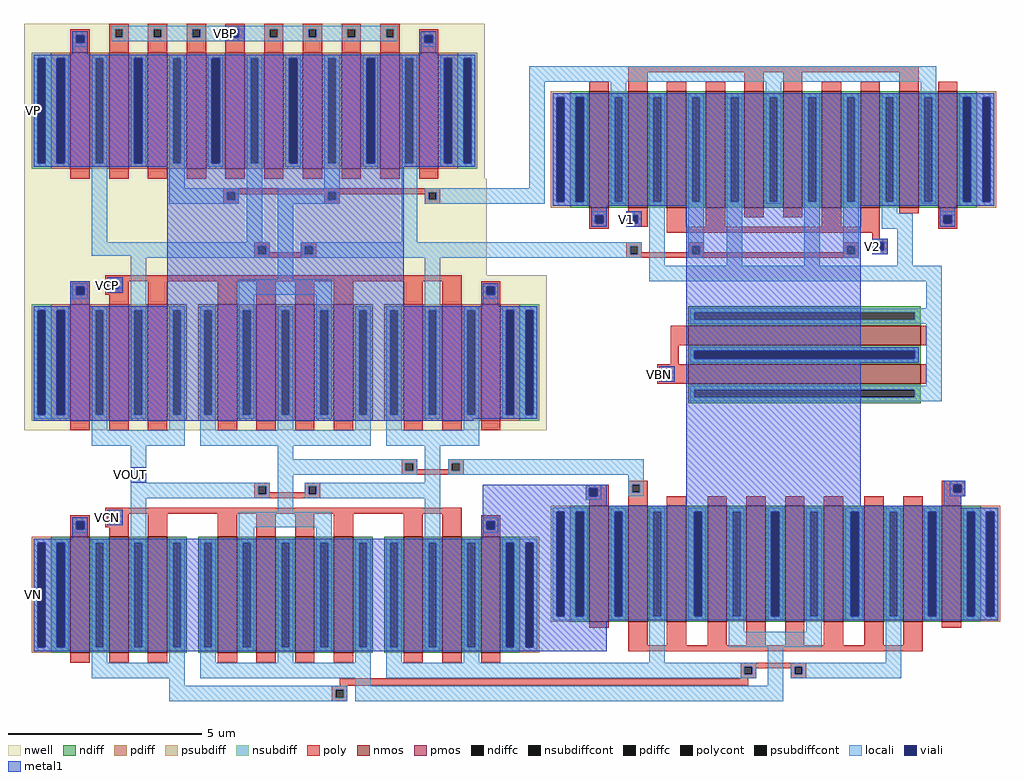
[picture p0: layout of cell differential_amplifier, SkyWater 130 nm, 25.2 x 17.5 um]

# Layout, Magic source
magic
tech sky130A
<< nwell >>
rect -110 -230 1080 170
rect -110 -480 1085 -230
rect -110 -880 1240 -480
<< nmos >>
rect 1350 -305 1400 -5
rect 1450 -305 1500 -5
rect 1550 -305 1600 -5
rect 1650 -305 1700 -5
rect 1750 -305 1800 -5
rect 1850 -305 1900 -5
rect 1950 -305 2000 -5
rect 2050 -305 2100 -5
rect 2150 -305 2200 -5
rect 2250 -305 2300 -5
rect 1605 -660 2205 -610
rect 1605 -760 2205 -710
rect 10 -1455 60 -1155
rect 110 -1455 160 -1155
rect 210 -1455 260 -1155
rect 390 -1455 440 -1155
rect 490 -1455 540 -1155
rect 590 -1455 640 -1155
rect 690 -1455 740 -1155
rect 870 -1455 920 -1155
rect 970 -1455 1020 -1155
rect 1070 -1455 1120 -1155
rect 1350 -1375 1400 -1075
rect 1450 -1375 1500 -1075
rect 1550 -1375 1600 -1075
rect 1655 -1375 1705 -1075
rect 1755 -1375 1805 -1075
rect 1855 -1375 1905 -1075
rect 1955 -1375 2005 -1075
rect 2060 -1375 2110 -1075
rect 2160 -1375 2210 -1075
rect 2260 -1375 2310 -1075
<< pmos >>
rect 10 -205 60 95
rect 110 -205 160 95
rect 210 -205 260 95
rect 310 -205 360 95
rect 410 -205 460 95
rect 510 -205 560 95
rect 610 -205 660 95
rect 710 -205 760 95
rect 810 -205 860 95
rect 910 -205 960 95
rect 10 -855 60 -555
rect 110 -855 160 -555
rect 210 -855 260 -555
rect 390 -855 440 -555
rect 490 -855 540 -555
rect 590 -855 640 -555
rect 690 -855 740 -555
rect 870 -855 920 -555
rect 970 -855 1020 -555
rect 1070 -855 1120 -555
<< ndiff >>
rect 1300 -20 1350 -5
rect 1300 -290 1315 -20
rect 1335 -290 1350 -20
rect 1300 -305 1350 -290
rect 1400 -20 1450 -5
rect 1400 -290 1415 -20
rect 1435 -290 1450 -20
rect 1400 -305 1450 -290
rect 1500 -20 1550 -5
rect 1500 -290 1515 -20
rect 1535 -290 1550 -20
rect 1500 -305 1550 -290
rect 1600 -20 1650 -5
rect 1600 -290 1615 -20
rect 1635 -290 1650 -20
rect 1600 -305 1650 -290
rect 1700 -20 1750 -5
rect 1700 -290 1715 -20
rect 1735 -290 1750 -20
rect 1700 -305 1750 -290
rect 1800 -20 1850 -5
rect 1800 -290 1815 -20
rect 1835 -290 1850 -20
rect 1800 -305 1850 -290
rect 1900 -20 1950 -5
rect 1900 -290 1915 -20
rect 1935 -290 1950 -20
rect 1900 -305 1950 -290
rect 2000 -20 2050 -5
rect 2000 -290 2015 -20
rect 2035 -290 2050 -20
rect 2000 -305 2050 -290
rect 2100 -20 2150 -5
rect 2100 -290 2115 -20
rect 2135 -290 2150 -20
rect 2100 -305 2150 -290
rect 2200 -20 2250 -5
rect 2200 -290 2215 -20
rect 2235 -290 2250 -20
rect 2200 -305 2250 -290
rect 2300 -20 2350 -5
rect 2300 -290 2315 -20
rect 2335 -290 2350 -20
rect 2300 -305 2350 -290
rect 1605 -575 2205 -560
rect 1605 -595 1620 -575
rect 2190 -595 2205 -575
rect 1605 -610 2205 -595
rect 1605 -675 2205 -660
rect 1605 -695 1620 -675
rect 2190 -695 2205 -675
rect 1605 -710 2205 -695
rect 1605 -775 2205 -760
rect 1605 -795 1620 -775
rect 2190 -795 2205 -775
rect 1605 -810 2205 -795
rect 1300 -1090 1350 -1075
rect -40 -1170 10 -1155
rect -40 -1440 -25 -1170
rect -5 -1440 10 -1170
rect -40 -1455 10 -1440
rect 60 -1170 110 -1155
rect 60 -1440 75 -1170
rect 95 -1440 110 -1170
rect 60 -1455 110 -1440
rect 160 -1170 210 -1155
rect 160 -1440 175 -1170
rect 195 -1440 210 -1170
rect 160 -1455 210 -1440
rect 260 -1170 310 -1155
rect 260 -1440 275 -1170
rect 295 -1440 310 -1170
rect 260 -1455 310 -1440
rect 340 -1170 390 -1155
rect 340 -1440 355 -1170
rect 375 -1440 390 -1170
rect 340 -1455 390 -1440
rect 440 -1170 490 -1155
rect 440 -1440 455 -1170
rect 475 -1440 490 -1170
rect 440 -1455 490 -1440
rect 540 -1170 590 -1155
rect 540 -1440 555 -1170
rect 575 -1440 590 -1170
rect 540 -1455 590 -1440
rect 640 -1170 690 -1155
rect 640 -1440 655 -1170
rect 675 -1440 690 -1170
rect 640 -1455 690 -1440
rect 740 -1170 790 -1155
rect 740 -1440 755 -1170
rect 775 -1440 790 -1170
rect 740 -1455 790 -1440
rect 820 -1170 870 -1155
rect 820 -1440 835 -1170
rect 855 -1440 870 -1170
rect 820 -1455 870 -1440
rect 920 -1170 970 -1155
rect 920 -1440 935 -1170
rect 955 -1440 970 -1170
rect 920 -1455 970 -1440
rect 1020 -1170 1070 -1155
rect 1020 -1440 1035 -1170
rect 1055 -1440 1070 -1170
rect 1020 -1455 1070 -1440
rect 1120 -1170 1170 -1155
rect 1120 -1440 1135 -1170
rect 1155 -1440 1170 -1170
rect 1300 -1360 1315 -1090
rect 1335 -1360 1350 -1090
rect 1300 -1375 1350 -1360
rect 1400 -1090 1450 -1075
rect 1400 -1360 1415 -1090
rect 1435 -1360 1450 -1090
rect 1400 -1375 1450 -1360
rect 1500 -1090 1550 -1075
rect 1500 -1360 1515 -1090
rect 1535 -1360 1550 -1090
rect 1500 -1375 1550 -1360
rect 1600 -1090 1655 -1075
rect 1600 -1360 1620 -1090
rect 1640 -1360 1655 -1090
rect 1600 -1375 1655 -1360
rect 1705 -1090 1755 -1075
rect 1705 -1360 1720 -1090
rect 1740 -1360 1755 -1090
rect 1705 -1375 1755 -1360
rect 1805 -1090 1855 -1075
rect 1805 -1360 1820 -1090
rect 1840 -1360 1855 -1090
rect 1805 -1375 1855 -1360
rect 1905 -1090 1955 -1075
rect 1905 -1360 1920 -1090
rect 1940 -1360 1955 -1090
rect 1905 -1375 1955 -1360
rect 2005 -1090 2060 -1075
rect 2005 -1360 2025 -1090
rect 2045 -1360 2060 -1090
rect 2005 -1375 2060 -1360
rect 2110 -1090 2160 -1075
rect 2110 -1360 2125 -1090
rect 2145 -1360 2160 -1090
rect 2110 -1375 2160 -1360
rect 2210 -1090 2260 -1075
rect 2210 -1360 2225 -1090
rect 2245 -1360 2260 -1090
rect 2210 -1375 2260 -1360
rect 2310 -1090 2360 -1075
rect 2310 -1360 2325 -1090
rect 2345 -1360 2360 -1090
rect 2310 -1375 2360 -1360
rect 1120 -1455 1170 -1440
<< pdiff >>
rect -40 80 10 95
rect -40 -190 -25 80
rect -5 -190 10 80
rect -40 -205 10 -190
rect 60 80 110 95
rect 60 -190 75 80
rect 95 -190 110 80
rect 60 -205 110 -190
rect 160 80 210 95
rect 160 -190 175 80
rect 195 -190 210 80
rect 160 -205 210 -190
rect 260 80 310 95
rect 260 -190 275 80
rect 295 -190 310 80
rect 260 -205 310 -190
rect 360 80 410 95
rect 360 -190 375 80
rect 395 -190 410 80
rect 360 -205 410 -190
rect 460 80 510 95
rect 460 -190 475 80
rect 495 -190 510 80
rect 460 -205 510 -190
rect 560 80 610 95
rect 560 -190 575 80
rect 595 -190 610 80
rect 560 -205 610 -190
rect 660 80 710 95
rect 660 -190 675 80
rect 695 -190 710 80
rect 660 -205 710 -190
rect 760 80 810 95
rect 760 -190 775 80
rect 795 -190 810 80
rect 760 -205 810 -190
rect 860 80 910 95
rect 860 -190 875 80
rect 895 -190 910 80
rect 860 -205 910 -190
rect 960 80 1010 95
rect 960 -190 975 80
rect 995 -190 1010 80
rect 960 -205 1010 -190
rect -40 -570 10 -555
rect -40 -840 -25 -570
rect -5 -840 10 -570
rect -40 -855 10 -840
rect 60 -570 110 -555
rect 60 -840 75 -570
rect 95 -840 110 -570
rect 60 -855 110 -840
rect 160 -570 210 -555
rect 160 -840 175 -570
rect 195 -840 210 -570
rect 160 -855 210 -840
rect 260 -570 310 -555
rect 260 -840 275 -570
rect 295 -840 310 -570
rect 260 -855 310 -840
rect 340 -570 390 -555
rect 340 -840 355 -570
rect 375 -840 390 -570
rect 340 -855 390 -840
rect 440 -570 490 -555
rect 440 -840 455 -570
rect 475 -840 490 -570
rect 440 -855 490 -840
rect 540 -570 590 -555
rect 540 -840 555 -570
rect 575 -840 590 -570
rect 540 -855 590 -840
rect 640 -570 690 -555
rect 640 -840 655 -570
rect 675 -840 690 -570
rect 640 -855 690 -840
rect 740 -570 790 -555
rect 740 -840 755 -570
rect 775 -840 790 -570
rect 740 -855 790 -840
rect 820 -570 870 -555
rect 820 -840 835 -570
rect 855 -840 870 -570
rect 820 -855 870 -840
rect 920 -570 970 -555
rect 920 -840 935 -570
rect 955 -840 970 -570
rect 920 -855 970 -840
rect 1020 -570 1070 -555
rect 1020 -840 1035 -570
rect 1055 -840 1070 -570
rect 1020 -855 1070 -840
rect 1120 -570 1170 -555
rect 1120 -840 1135 -570
rect 1155 -840 1170 -570
rect 1120 -855 1170 -840
<< ndiffc >>
rect 1315 -290 1335 -20
rect 1415 -290 1435 -20
rect 1515 -290 1535 -20
rect 1615 -290 1635 -20
rect 1715 -290 1735 -20
rect 1815 -290 1835 -20
rect 1915 -290 1935 -20
rect 2015 -290 2035 -20
rect 2115 -290 2135 -20
rect 2215 -290 2235 -20
rect 2315 -290 2335 -20
rect 1620 -595 2190 -575
rect 1620 -695 2190 -675
rect 1620 -795 2190 -775
rect -25 -1440 -5 -1170
rect 75 -1440 95 -1170
rect 175 -1440 195 -1170
rect 275 -1440 295 -1170
rect 355 -1440 375 -1170
rect 455 -1440 475 -1170
rect 555 -1440 575 -1170
rect 655 -1440 675 -1170
rect 755 -1440 775 -1170
rect 835 -1440 855 -1170
rect 935 -1440 955 -1170
rect 1035 -1440 1055 -1170
rect 1135 -1440 1155 -1170
rect 1315 -1360 1335 -1090
rect 1415 -1360 1435 -1090
rect 1515 -1360 1535 -1090
rect 1620 -1360 1640 -1090
rect 1720 -1360 1740 -1090
rect 1820 -1360 1840 -1090
rect 1920 -1360 1940 -1090
rect 2025 -1360 2045 -1090
rect 2125 -1360 2145 -1090
rect 2225 -1360 2245 -1090
rect 2325 -1360 2345 -1090
<< pdiffc >>
rect -25 -190 -5 80
rect 75 -190 95 80
rect 175 -190 195 80
rect 275 -190 295 80
rect 375 -190 395 80
rect 475 -190 495 80
rect 575 -190 595 80
rect 675 -190 695 80
rect 775 -190 795 80
rect 875 -190 895 80
rect 975 -190 995 80
rect -25 -840 -5 -570
rect 75 -840 95 -570
rect 175 -840 195 -570
rect 275 -840 295 -570
rect 355 -840 375 -570
rect 455 -840 475 -570
rect 555 -840 575 -570
rect 655 -840 675 -570
rect 755 -840 775 -570
rect 835 -840 855 -570
rect 935 -840 955 -570
rect 1035 -840 1055 -570
rect 1135 -840 1155 -570
<< psubdiff >>
rect 1250 -20 1300 -5
rect 1250 -290 1265 -20
rect 1285 -290 1300 -20
rect 1250 -305 1300 -290
rect 2350 -20 2400 -5
rect 2350 -290 2365 -20
rect 2385 -290 2400 -20
rect 2350 -305 2400 -290
rect 1250 -1090 1300 -1075
rect -90 -1170 -40 -1155
rect -90 -1440 -75 -1170
rect -55 -1440 -40 -1170
rect -90 -1455 -40 -1440
rect 1170 -1170 1220 -1155
rect 1170 -1440 1185 -1170
rect 1205 -1440 1220 -1170
rect 1250 -1360 1265 -1090
rect 1285 -1360 1300 -1090
rect 1250 -1375 1300 -1360
rect 2360 -1090 2410 -1075
rect 2360 -1360 2375 -1090
rect 2395 -1360 2410 -1090
rect 2360 -1375 2410 -1360
rect 1170 -1455 1220 -1440
<< nsubdiff >>
rect -90 80 -40 95
rect -90 -190 -75 80
rect -55 -190 -40 80
rect -90 -205 -40 -190
rect 1010 80 1060 95
rect 1010 -190 1025 80
rect 1045 -190 1060 80
rect 1010 -205 1060 -190
rect -90 -570 -40 -555
rect -90 -840 -75 -570
rect -55 -840 -40 -570
rect -90 -855 -40 -840
rect 1170 -570 1220 -555
rect 1170 -840 1185 -570
rect 1205 -840 1220 -570
rect 1170 -855 1220 -840
<< psubdiffcont >>
rect 1265 -290 1285 -20
rect 2365 -290 2385 -20
rect -75 -1440 -55 -1170
rect 1185 -1440 1205 -1170
rect 1265 -1360 1285 -1090
rect 2375 -1360 2395 -1090
<< nsubdiffcont >>
rect -75 -190 -55 80
rect 1025 -190 1045 80
rect -75 -840 -55 -570
rect 1185 -840 1205 -570
<< poly >>
rect 110 155 160 170
rect 10 140 60 155
rect 10 120 25 140
rect 45 120 60 140
rect 10 95 60 120
rect 110 135 125 155
rect 145 135 160 155
rect 110 95 160 135
rect 210 155 260 170
rect 210 135 225 155
rect 245 135 260 155
rect 210 95 260 135
rect 310 155 360 170
rect 310 135 325 155
rect 345 135 360 155
rect 310 95 360 135
rect 410 155 460 170
rect 410 135 425 155
rect 445 135 460 155
rect 410 95 460 135
rect 510 155 560 170
rect 510 135 525 155
rect 545 135 560 155
rect 510 95 560 135
rect 610 155 660 170
rect 610 135 625 155
rect 645 135 660 155
rect 610 95 660 135
rect 710 155 760 170
rect 710 135 725 155
rect 745 135 760 155
rect 710 95 760 135
rect 810 155 860 170
rect 810 135 825 155
rect 845 135 860 155
rect 810 95 860 135
rect 910 140 960 155
rect 910 120 925 140
rect 945 120 960 140
rect 910 95 960 120
rect 1450 45 2200 60
rect 1350 -5 1400 20
rect 1450 -5 1500 45
rect 1550 -5 1600 20
rect 1650 -5 1700 20
rect 1750 -5 1800 45
rect 1850 -5 1900 45
rect 1950 -5 2000 20
rect 2050 -5 2100 20
rect 2150 -5 2200 45
rect 2250 -5 2300 20
rect 10 -230 60 -205
rect 110 -230 160 -205
rect 210 -230 260 -205
rect 310 -230 360 -205
rect 410 -230 460 -205
rect 510 -230 560 -205
rect 610 -230 660 -205
rect 710 -230 760 -205
rect 810 -230 860 -205
rect 910 -230 960 -205
rect 405 -265 965 -255
rect 405 -285 415 -265
rect 435 -270 675 -265
rect 435 -285 445 -270
rect 405 -295 445 -285
rect 665 -285 675 -270
rect 695 -270 935 -265
rect 695 -285 705 -270
rect 665 -295 705 -285
rect 925 -285 935 -270
rect 955 -285 965 -265
rect 925 -295 965 -285
rect 1350 -325 1400 -305
rect 1450 -315 1500 -305
rect 1350 -345 1365 -325
rect 1385 -345 1400 -325
rect 1350 -360 1400 -345
rect 1445 -325 1500 -315
rect 1445 -345 1455 -325
rect 1475 -345 1500 -325
rect 1445 -355 1500 -345
rect 1550 -355 1600 -305
rect 1650 -355 1700 -305
rect 1750 -330 1800 -305
rect 1850 -330 1900 -305
rect 1950 -355 2000 -305
rect 2050 -355 2100 -305
rect 2150 -320 2200 -305
rect 1550 -370 2100 -355
rect 2250 -325 2300 -305
rect 2250 -345 2265 -325
rect 2285 -345 2300 -325
rect 2250 -360 2300 -345
rect 2080 -385 2100 -370
rect 2080 -395 2120 -385
rect 485 -405 525 -395
rect 485 -425 495 -405
rect 515 -420 525 -405
rect 605 -405 645 -395
rect 605 -420 615 -405
rect 515 -425 615 -420
rect 635 -425 645 -405
rect 485 -435 645 -425
rect 1445 -405 1485 -395
rect 1445 -425 1455 -405
rect 1475 -420 1485 -405
rect 1605 -405 1645 -395
rect 1605 -420 1615 -405
rect 1475 -425 1615 -420
rect 1635 -420 1645 -405
rect 2005 -405 2045 -395
rect 2005 -420 2015 -405
rect 1635 -425 2015 -420
rect 2035 -425 2045 -405
rect 2080 -415 2090 -395
rect 2110 -415 2120 -395
rect 2080 -425 2120 -415
rect 1445 -435 2045 -425
rect 100 -495 1020 -480
rect 10 -510 60 -495
rect 10 -530 25 -510
rect 45 -530 60 -510
rect 100 -515 115 -495
rect 135 -515 160 -495
rect 100 -530 160 -515
rect 10 -555 60 -530
rect 110 -555 160 -530
rect 210 -555 260 -495
rect 390 -555 440 -495
rect 490 -555 540 -495
rect 590 -555 640 -495
rect 690 -555 740 -495
rect 870 -555 920 -495
rect 970 -555 1020 -495
rect 1070 -510 1120 -495
rect 1070 -530 1085 -510
rect 1105 -530 1120 -510
rect 1070 -555 1120 -530
rect 1560 -660 1605 -610
rect 2205 -660 2220 -610
rect 1560 -710 1580 -660
rect 1525 -725 1605 -710
rect 1525 -745 1540 -725
rect 1560 -745 1605 -725
rect 1525 -760 1605 -745
rect 2205 -760 2220 -710
rect 10 -880 60 -855
rect 110 -880 160 -855
rect 210 -880 260 -855
rect 390 -880 440 -855
rect 490 -880 540 -855
rect 590 -880 640 -855
rect 690 -880 740 -855
rect 870 -880 920 -855
rect 970 -880 1020 -855
rect 1070 -880 1120 -855
rect 865 -965 905 -955
rect 865 -985 875 -965
rect 895 -980 905 -965
rect 985 -965 1025 -955
rect 985 -980 995 -965
rect 895 -985 995 -980
rect 1015 -985 1025 -965
rect 865 -995 1025 -985
rect 485 -1025 525 -1015
rect 485 -1045 495 -1025
rect 515 -1040 525 -1025
rect 615 -1025 655 -1015
rect 1450 -1020 1500 -1010
rect 615 -1040 625 -1025
rect 515 -1045 625 -1040
rect 645 -1045 655 -1025
rect 485 -1055 655 -1045
rect 1340 -1030 1400 -1020
rect 1340 -1050 1350 -1030
rect 1370 -1050 1400 -1030
rect 1340 -1060 1400 -1050
rect 1350 -1075 1400 -1060
rect 1450 -1040 1460 -1020
rect 1480 -1040 1500 -1020
rect 1450 -1075 1500 -1040
rect 2260 -1020 2320 -1010
rect 2260 -1040 2290 -1020
rect 2310 -1040 2320 -1020
rect 2260 -1050 2320 -1040
rect 1550 -1075 1600 -1050
rect 1655 -1075 1705 -1050
rect 1755 -1075 1805 -1050
rect 1855 -1075 1905 -1050
rect 1955 -1075 2005 -1050
rect 2060 -1075 2110 -1050
rect 2160 -1075 2210 -1050
rect 2260 -1075 2310 -1050
rect 100 -1095 1020 -1080
rect 10 -1115 60 -1100
rect 10 -1135 25 -1115
rect 45 -1135 60 -1115
rect 100 -1115 115 -1095
rect 135 -1115 160 -1095
rect 100 -1130 160 -1115
rect 10 -1155 60 -1135
rect 110 -1155 160 -1130
rect 210 -1155 260 -1095
rect 390 -1155 440 -1095
rect 490 -1155 540 -1095
rect 590 -1155 640 -1095
rect 690 -1155 740 -1095
rect 870 -1155 920 -1095
rect 970 -1155 1020 -1095
rect 1070 -1115 1120 -1100
rect 1070 -1135 1085 -1115
rect 1105 -1135 1120 -1115
rect 1070 -1155 1120 -1135
rect 1350 -1390 1400 -1375
rect 1450 -1435 1500 -1375
rect 1550 -1435 1600 -1375
rect 1655 -1435 1705 -1375
rect 1755 -1435 1805 -1375
rect 1855 -1435 1905 -1375
rect 1955 -1435 2005 -1375
rect 2060 -1435 2110 -1375
rect 2160 -1435 2210 -1375
rect 2260 -1390 2310 -1375
rect 1450 -1450 2210 -1435
rect 10 -1480 60 -1455
rect 110 -1480 160 -1455
rect 210 -1480 260 -1455
rect 390 -1480 440 -1455
rect 490 -1480 540 -1455
rect 590 -1480 640 -1455
rect 690 -1480 740 -1455
rect 870 -1480 920 -1455
rect 970 -1480 1020 -1455
rect 1070 -1480 1120 -1455
rect 1740 -1490 1910 -1480
rect 1740 -1510 1750 -1490
rect 1770 -1495 1880 -1490
rect 1770 -1510 1780 -1495
rect 1740 -1520 1780 -1510
rect 1870 -1510 1880 -1495
rect 1900 -1510 1910 -1490
rect 1870 -1520 1910 -1510
rect 705 -1540 1760 -1520
rect 685 -1550 725 -1540
rect 685 -1570 695 -1550
rect 715 -1570 725 -1550
rect 685 -1580 725 -1570
<< polycont >>
rect 25 120 45 140
rect 125 135 145 155
rect 225 135 245 155
rect 325 135 345 155
rect 425 135 445 155
rect 525 135 545 155
rect 625 135 645 155
rect 725 135 745 155
rect 825 135 845 155
rect 925 120 945 140
rect 415 -285 435 -265
rect 675 -285 695 -265
rect 935 -285 955 -265
rect 1365 -345 1385 -325
rect 1455 -345 1475 -325
rect 2265 -345 2285 -325
rect 495 -425 515 -405
rect 615 -425 635 -405
rect 1455 -425 1475 -405
rect 1615 -425 1635 -405
rect 2015 -425 2035 -405
rect 2090 -415 2110 -395
rect 25 -530 45 -510
rect 115 -515 135 -495
rect 1085 -530 1105 -510
rect 1540 -745 1560 -725
rect 875 -985 895 -965
rect 995 -985 1015 -965
rect 495 -1045 515 -1025
rect 625 -1045 645 -1025
rect 1350 -1050 1370 -1030
rect 1460 -1040 1480 -1020
rect 2290 -1040 2310 -1020
rect 25 -1135 45 -1115
rect 115 -1115 135 -1095
rect 1085 -1135 1105 -1115
rect 1750 -1510 1770 -1490
rect 1880 -1510 1900 -1490
rect 695 -1570 715 -1550
<< locali >>
rect 115 155 855 165
rect 15 140 55 150
rect 15 120 25 140
rect 45 120 55 140
rect 115 135 125 155
rect 145 135 225 155
rect 245 135 325 155
rect 345 135 425 155
rect 445 135 525 155
rect 545 135 625 155
rect 645 135 725 155
rect 745 135 825 155
rect 845 135 855 155
rect 115 125 855 135
rect 915 140 955 150
rect 15 110 55 120
rect 915 120 925 140
rect 945 120 955 140
rect 915 110 955 120
rect -85 80 5 90
rect -85 -190 -75 80
rect -55 -190 -25 80
rect -5 -190 5 80
rect -85 -200 5 -190
rect 65 80 105 90
rect 65 -190 75 80
rect 95 -190 105 80
rect 65 -395 105 -190
rect 165 80 205 90
rect 165 -190 175 80
rect 195 -190 205 80
rect 165 -200 205 -190
rect 265 80 305 90
rect 265 -190 275 80
rect 295 -190 305 80
rect 265 -255 305 -190
rect 365 80 405 90
rect 365 -190 375 80
rect 395 -190 405 80
rect 365 -200 405 -190
rect 465 80 505 90
rect 465 -190 475 80
rect 495 -190 505 80
rect 265 -265 445 -255
rect 265 -285 415 -265
rect 435 -285 445 -265
rect 265 -295 445 -285
rect 465 -395 505 -190
rect 565 80 605 90
rect 565 -190 575 80
rect 595 -190 605 80
rect 565 -200 605 -190
rect 665 80 705 90
rect 665 -190 675 80
rect 695 -190 705 80
rect 665 -255 705 -190
rect 765 80 805 90
rect 765 -190 775 80
rect 795 -190 805 80
rect 765 -200 805 -190
rect 865 80 905 90
rect 865 -190 875 80
rect 895 -190 905 80
rect 545 -265 705 -255
rect 545 -285 675 -265
rect 695 -285 705 -265
rect 545 -295 705 -285
rect 65 -405 525 -395
rect 65 -425 495 -405
rect 515 -425 525 -405
rect 65 -430 525 -425
rect 165 -435 525 -430
rect 105 -495 145 -485
rect 15 -510 55 -500
rect 15 -530 25 -510
rect 45 -530 55 -510
rect 105 -515 115 -495
rect 135 -515 145 -495
rect 105 -525 145 -515
rect 15 -540 55 -530
rect -85 -570 5 -560
rect -85 -840 -75 -570
rect -55 -840 -25 -570
rect -5 -840 5 -570
rect -85 -850 5 -840
rect 65 -570 105 -560
rect 65 -840 75 -570
rect 95 -840 105 -570
rect 65 -880 105 -840
rect 165 -570 205 -435
rect 545 -490 585 -295
rect 865 -395 905 -190
rect 965 80 1055 90
rect 965 -190 975 80
rect 995 -190 1025 80
rect 1045 -190 1055 80
rect 965 -200 1055 -190
rect 1195 20 2245 60
rect 1195 -255 1235 20
rect 925 -265 1235 -255
rect 925 -285 935 -265
rect 955 -285 1235 -265
rect 925 -295 1235 -285
rect 1255 -20 1345 -10
rect 1255 -290 1265 -20
rect 1285 -290 1315 -20
rect 1335 -290 1345 -20
rect 1255 -300 1345 -290
rect 1405 -20 1445 20
rect 1405 -290 1415 -20
rect 1435 -290 1445 -20
rect 1405 -295 1445 -290
rect 1505 -20 1545 -10
rect 1505 -290 1515 -20
rect 1535 -290 1545 -20
rect 1355 -325 1395 -315
rect 1355 -345 1365 -325
rect 1385 -345 1395 -325
rect 1355 -355 1395 -345
rect 1445 -325 1485 -315
rect 1445 -345 1455 -325
rect 1475 -345 1485 -325
rect 1445 -355 1485 -345
rect 605 -405 1485 -395
rect 605 -425 615 -405
rect 635 -425 1455 -405
rect 1475 -425 1485 -405
rect 605 -435 1485 -425
rect 445 -530 685 -490
rect 165 -840 175 -570
rect 195 -840 205 -570
rect 165 -850 205 -840
rect 265 -570 305 -560
rect 265 -840 275 -570
rect 295 -840 305 -570
rect 265 -880 305 -840
rect 65 -920 305 -880
rect 345 -570 385 -560
rect 345 -840 355 -570
rect 375 -840 385 -570
rect 345 -880 385 -840
rect 445 -570 485 -530
rect 445 -840 455 -570
rect 475 -840 485 -570
rect 445 -850 485 -840
rect 545 -570 585 -560
rect 545 -840 555 -570
rect 575 -840 585 -570
rect 545 -880 585 -840
rect 645 -570 685 -530
rect 645 -840 655 -570
rect 675 -840 685 -570
rect 645 -850 685 -840
rect 745 -570 785 -560
rect 745 -840 755 -570
rect 775 -840 785 -570
rect 745 -880 785 -840
rect 345 -920 785 -880
rect 825 -570 865 -560
rect 825 -840 835 -570
rect 855 -840 865 -570
rect 825 -880 865 -840
rect 925 -570 965 -435
rect 1505 -455 1545 -290
rect 1605 -20 1645 -10
rect 1605 -290 1615 -20
rect 1635 -290 1645 -20
rect 1605 -405 1645 -290
rect 1605 -425 1615 -405
rect 1635 -425 1645 -405
rect 1605 -435 1645 -425
rect 1705 -20 1745 -10
rect 1705 -290 1715 -20
rect 1735 -290 1745 -20
rect 1705 -455 1745 -290
rect 1805 -20 1845 20
rect 1805 -290 1815 -20
rect 1835 -290 1845 -20
rect 1805 -295 1845 -290
rect 1905 -20 1945 -10
rect 1905 -290 1915 -20
rect 1935 -290 1945 -20
rect 1905 -455 1945 -290
rect 2005 -20 2045 -10
rect 2005 -290 2015 -20
rect 2035 -290 2045 -20
rect 2005 -405 2045 -290
rect 2105 -20 2145 -10
rect 2105 -290 2115 -20
rect 2135 -290 2145 -20
rect 2105 -320 2145 -290
rect 2205 -20 2245 20
rect 2205 -290 2215 -20
rect 2235 -290 2245 -20
rect 2205 -295 2245 -290
rect 2305 -20 2395 -10
rect 2305 -290 2315 -20
rect 2335 -290 2365 -20
rect 2385 -290 2395 -20
rect 2305 -300 2395 -290
rect 2105 -360 2185 -320
rect 2255 -325 2295 -315
rect 2255 -345 2265 -325
rect 2285 -345 2295 -325
rect 2255 -355 2295 -345
rect 2005 -425 2015 -405
rect 2035 -425 2045 -405
rect 2080 -395 2120 -385
rect 2080 -415 2090 -395
rect 2110 -415 2120 -395
rect 2080 -425 2120 -415
rect 2005 -435 2045 -425
rect 2145 -455 2185 -360
rect 1505 -495 2260 -455
rect 1075 -510 1115 -500
rect 1075 -530 1085 -510
rect 1105 -530 1115 -510
rect 1075 -540 1115 -530
rect 925 -840 935 -570
rect 955 -840 965 -570
rect 925 -850 965 -840
rect 1025 -570 1065 -560
rect 1025 -840 1035 -570
rect 1055 -840 1065 -570
rect 1025 -880 1065 -840
rect 1125 -570 1215 -560
rect 2220 -565 2260 -495
rect 1125 -840 1135 -570
rect 1155 -840 1185 -570
rect 1205 -840 1215 -570
rect 1610 -575 2260 -565
rect 1610 -595 1620 -575
rect 2190 -595 2260 -575
rect 1610 -605 2260 -595
rect 1610 -675 2200 -665
rect 1610 -695 1620 -675
rect 2190 -695 2200 -675
rect 1610 -705 2200 -695
rect 1530 -725 1570 -715
rect 1530 -745 1540 -725
rect 1560 -745 1570 -725
rect 1530 -755 1570 -745
rect 2220 -765 2260 -605
rect 1610 -775 2260 -765
rect 1610 -795 1620 -775
rect 2190 -795 2260 -775
rect 1610 -805 2260 -795
rect 1125 -850 1215 -840
rect 825 -920 1065 -880
rect 165 -985 205 -920
rect 165 -1005 175 -985
rect 195 -1005 205 -985
rect 165 -1015 205 -1005
rect 545 -955 585 -920
rect 545 -965 905 -955
rect 545 -985 875 -965
rect 895 -985 905 -965
rect 545 -995 905 -985
rect 165 -1025 525 -1015
rect 165 -1045 495 -1025
rect 515 -1045 525 -1025
rect 165 -1055 525 -1045
rect 105 -1095 145 -1085
rect 15 -1115 55 -1105
rect 15 -1135 25 -1115
rect 45 -1135 55 -1115
rect 105 -1115 115 -1095
rect 135 -1115 145 -1095
rect 105 -1125 145 -1115
rect 15 -1145 55 -1135
rect -85 -1170 5 -1160
rect -85 -1440 -75 -1170
rect -55 -1440 -25 -1170
rect -5 -1440 5 -1170
rect -85 -1450 5 -1440
rect 65 -1170 105 -1160
rect 65 -1440 75 -1170
rect 95 -1440 105 -1170
rect 65 -1480 105 -1440
rect 165 -1170 205 -1055
rect 545 -1090 585 -995
rect 925 -1015 965 -920
rect 985 -965 1490 -955
rect 985 -985 995 -965
rect 1015 -985 1490 -965
rect 985 -995 1490 -985
rect 615 -1025 965 -1015
rect 1450 -1020 1490 -995
rect 615 -1045 625 -1025
rect 645 -1045 965 -1025
rect 615 -1055 965 -1045
rect 445 -1130 685 -1090
rect 165 -1440 175 -1170
rect 195 -1440 205 -1170
rect 165 -1450 205 -1440
rect 265 -1170 305 -1160
rect 265 -1440 275 -1170
rect 295 -1440 305 -1170
rect 265 -1480 305 -1440
rect 65 -1520 305 -1480
rect 345 -1170 385 -1160
rect 345 -1440 355 -1170
rect 375 -1440 385 -1170
rect 345 -1480 385 -1440
rect 445 -1170 485 -1130
rect 445 -1440 455 -1170
rect 475 -1440 485 -1170
rect 445 -1450 485 -1440
rect 545 -1170 585 -1160
rect 545 -1440 555 -1170
rect 575 -1440 585 -1170
rect 545 -1480 585 -1440
rect 645 -1170 685 -1130
rect 645 -1440 655 -1170
rect 675 -1440 685 -1170
rect 645 -1450 685 -1440
rect 745 -1170 785 -1160
rect 745 -1440 755 -1170
rect 775 -1440 785 -1170
rect 745 -1480 785 -1440
rect 345 -1520 785 -1480
rect 825 -1170 865 -1160
rect 825 -1440 835 -1170
rect 855 -1440 865 -1170
rect 825 -1480 865 -1440
rect 925 -1170 965 -1055
rect 1340 -1030 1380 -1020
rect 1340 -1050 1350 -1030
rect 1370 -1050 1380 -1030
rect 1450 -1040 1460 -1020
rect 1480 -1040 1490 -1020
rect 1450 -1050 1490 -1040
rect 2280 -1020 2320 -1010
rect 2280 -1040 2290 -1020
rect 2310 -1040 2320 -1020
rect 2280 -1050 2320 -1040
rect 1340 -1060 1380 -1050
rect 1255 -1090 1345 -1080
rect 1075 -1115 1115 -1105
rect 1075 -1135 1085 -1115
rect 1105 -1135 1115 -1115
rect 1075 -1145 1115 -1135
rect 925 -1440 935 -1170
rect 955 -1440 965 -1170
rect 925 -1450 965 -1440
rect 1025 -1170 1065 -1160
rect 1025 -1440 1035 -1170
rect 1055 -1440 1065 -1170
rect 1025 -1480 1065 -1440
rect 1125 -1170 1215 -1160
rect 1125 -1440 1135 -1170
rect 1155 -1440 1185 -1170
rect 1205 -1440 1215 -1170
rect 1255 -1360 1265 -1090
rect 1285 -1360 1315 -1090
rect 1335 -1360 1345 -1090
rect 1255 -1370 1345 -1360
rect 1405 -1090 1445 -1080
rect 1405 -1360 1415 -1090
rect 1435 -1360 1445 -1090
rect 1405 -1370 1445 -1360
rect 1505 -1090 1545 -1080
rect 1505 -1360 1515 -1090
rect 1535 -1360 1545 -1090
rect 1125 -1450 1215 -1440
rect 1505 -1480 1545 -1360
rect 1605 -1090 1650 -1080
rect 1605 -1360 1620 -1090
rect 1640 -1360 1650 -1090
rect 1605 -1370 1650 -1360
rect 1710 -1090 1750 -1080
rect 1710 -1360 1720 -1090
rect 1740 -1360 1750 -1090
rect 1710 -1400 1750 -1360
rect 1810 -1090 1850 -1080
rect 1810 -1360 1820 -1090
rect 1840 -1360 1850 -1090
rect 1810 -1370 1850 -1360
rect 1910 -1090 1950 -1080
rect 1910 -1360 1920 -1090
rect 1940 -1360 1950 -1090
rect 1910 -1400 1950 -1360
rect 2010 -1090 2055 -1080
rect 2010 -1360 2025 -1090
rect 2045 -1360 2055 -1090
rect 2010 -1370 2055 -1360
rect 2115 -1090 2155 -1080
rect 2115 -1360 2125 -1090
rect 2145 -1360 2155 -1090
rect 1710 -1440 1950 -1400
rect 825 -1490 1780 -1480
rect 825 -1510 1750 -1490
rect 1770 -1510 1780 -1490
rect 825 -1520 1780 -1510
rect 265 -1540 305 -1520
rect 745 -1540 785 -1520
rect 1810 -1540 1850 -1440
rect 2115 -1480 2155 -1360
rect 2215 -1090 2255 -1080
rect 2215 -1360 2225 -1090
rect 2245 -1360 2255 -1090
rect 2215 -1370 2255 -1360
rect 2315 -1090 2405 -1080
rect 2315 -1360 2325 -1090
rect 2345 -1360 2375 -1090
rect 2395 -1360 2405 -1090
rect 2315 -1370 2405 -1360
rect 1870 -1490 2155 -1480
rect 1870 -1510 1880 -1490
rect 1900 -1510 2155 -1490
rect 1870 -1520 2155 -1510
rect 265 -1550 725 -1540
rect 265 -1570 695 -1550
rect 715 -1570 725 -1550
rect 265 -1580 725 -1570
rect 745 -1580 1850 -1540
<< viali >>
rect 25 120 45 140
rect 425 135 445 155
rect 925 120 945 140
rect -75 -190 -55 80
rect -25 -190 -5 80
rect 175 -190 195 80
rect 375 -190 395 80
rect 575 -190 595 80
rect 775 -190 795 80
rect 25 -530 45 -510
rect 115 -515 135 -495
rect -75 -840 -55 -570
rect -25 -840 -5 -570
rect 975 -190 995 80
rect 1025 -190 1045 80
rect 1265 -290 1285 -20
rect 1315 -290 1335 -20
rect 1365 -345 1385 -325
rect 1455 -345 1475 -325
rect 2315 -290 2335 -20
rect 2365 -290 2385 -20
rect 2265 -345 2285 -325
rect 2090 -415 2110 -395
rect 1085 -530 1105 -510
rect 1135 -840 1155 -570
rect 1185 -840 1205 -570
rect 1620 -695 2190 -675
rect 175 -1005 195 -985
rect 25 -1135 45 -1115
rect 115 -1115 135 -1095
rect -75 -1440 -55 -1170
rect -25 -1440 -5 -1170
rect 1350 -1050 1370 -1030
rect 2290 -1040 2310 -1020
rect 1085 -1135 1105 -1115
rect 1135 -1440 1155 -1170
rect 1185 -1440 1205 -1170
rect 1265 -1360 1285 -1090
rect 1315 -1360 1335 -1090
rect 1415 -1360 1435 -1090
rect 1620 -1360 1640 -1090
rect 1820 -1360 1840 -1090
rect 2025 -1360 2045 -1090
rect 2225 -1360 2245 -1090
rect 2325 -1360 2345 -1090
rect 2375 -1360 2395 -1090
<< metal1 >>
rect 410 155 460 165
rect 15 140 55 150
rect 15 120 25 140
rect 45 120 55 140
rect 410 135 425 155
rect 445 135 460 155
rect 410 125 460 135
rect 915 140 955 150
rect 15 90 55 120
rect 915 120 925 140
rect 945 120 955 140
rect 915 90 955 120
rect -85 80 1055 90
rect -85 -190 -75 80
rect -55 -190 -25 80
rect -5 -190 175 80
rect 195 -190 375 80
rect 395 -190 575 80
rect 595 -190 775 80
rect 795 -190 975 80
rect 995 -190 1025 80
rect 1045 -190 1055 80
rect -85 -200 1055 -190
rect 1255 -20 2395 -10
rect 105 -495 145 -485
rect 10 -510 60 -495
rect 10 -530 25 -510
rect 45 -530 60 -510
rect 105 -515 115 -495
rect 135 -515 145 -495
rect 105 -525 145 -515
rect 10 -560 60 -530
rect 260 -560 870 -200
rect 1255 -290 1265 -20
rect 1285 -290 1315 -20
rect 1335 -290 2315 -20
rect 2335 -290 2365 -20
rect 2385 -290 2395 -20
rect 1255 -300 2395 -290
rect 1355 -325 1395 -300
rect 1355 -345 1365 -325
rect 1385 -345 1395 -325
rect 1355 -355 1395 -345
rect 1445 -325 1485 -315
rect 1445 -345 1455 -325
rect 1475 -345 1485 -325
rect 1445 -355 1485 -345
rect 1075 -510 1115 -500
rect 1075 -530 1085 -510
rect 1105 -530 1115 -510
rect 1075 -560 1115 -530
rect -85 -570 1215 -560
rect -85 -840 -75 -570
rect -55 -840 -25 -570
rect -5 -840 1135 -570
rect 1155 -840 1185 -570
rect 1205 -840 1215 -570
rect 1600 -665 2050 -300
rect 2255 -325 2295 -300
rect 2255 -345 2265 -325
rect 2285 -345 2295 -325
rect 2255 -355 2295 -345
rect 2080 -395 2120 -385
rect 2080 -415 2090 -395
rect 2110 -415 2120 -395
rect 2080 -425 2120 -415
rect 1600 -675 2200 -665
rect 1600 -695 1620 -675
rect 2190 -695 2200 -675
rect 1600 -705 2200 -695
rect 1530 -755 1570 -715
rect -85 -850 1215 -840
rect -85 -855 1050 -850
rect 165 -985 205 -975
rect 165 -1005 175 -985
rect 195 -1005 205 -985
rect 165 -1015 205 -1005
rect 1075 -1030 1395 -1020
rect 1075 -1050 1350 -1030
rect 1370 -1050 1395 -1030
rect 1075 -1075 1395 -1050
rect 1600 -1075 2050 -705
rect 2265 -1020 2320 -1010
rect 2265 -1040 2290 -1020
rect 2310 -1040 2320 -1020
rect 2265 -1050 2320 -1040
rect 2265 -1075 2310 -1050
rect 1075 -1080 2310 -1075
rect 105 -1095 145 -1085
rect 15 -1115 55 -1105
rect 15 -1135 25 -1115
rect 45 -1135 55 -1115
rect 105 -1115 115 -1095
rect 135 -1115 145 -1095
rect 105 -1125 145 -1115
rect 1075 -1090 2405 -1080
rect 1075 -1115 1265 -1090
rect 15 -1160 55 -1135
rect 1075 -1135 1085 -1115
rect 1105 -1135 1265 -1115
rect 1075 -1160 1265 -1135
rect -85 -1170 1265 -1160
rect -85 -1440 -75 -1170
rect -55 -1440 -25 -1170
rect -5 -1440 1135 -1170
rect 1155 -1440 1185 -1170
rect 1205 -1360 1265 -1170
rect 1285 -1360 1315 -1090
rect 1335 -1360 1415 -1090
rect 1435 -1360 1620 -1090
rect 1640 -1360 1820 -1090
rect 1840 -1360 2025 -1090
rect 2045 -1360 2225 -1090
rect 2245 -1360 2325 -1090
rect 2345 -1360 2375 -1090
rect 2395 -1360 2405 -1090
rect 1205 -1370 2405 -1360
rect 1205 -1440 1395 -1370
rect -85 -1450 1395 -1440
<< labels >>
rlabel metal1 -85 -1305 -85 -1305 7 VN
port 2 w
rlabel metal1 410 145 410 145 7 VBP
port 3 w
rlabel metal1 105 -505 105 -505 3 VCP
port 4 e
rlabel metal1 105 -1105 105 -1105 3 VCN
port 5 e
rlabel metal1 1530 -735 1530 -735 7 VBN
port 8 w
rlabel metal1 165 -995 165 -995 7 VOUT
port 9 w
rlabel metal1 -85 -55 -85 -55 7 VP
port 1 w
rlabel metal1 1445 -335 1445 -335 3 V1
port 6 e
rlabel metal1 2080 -405 2080 -405 7 V2
port 7 w
<< end >>
